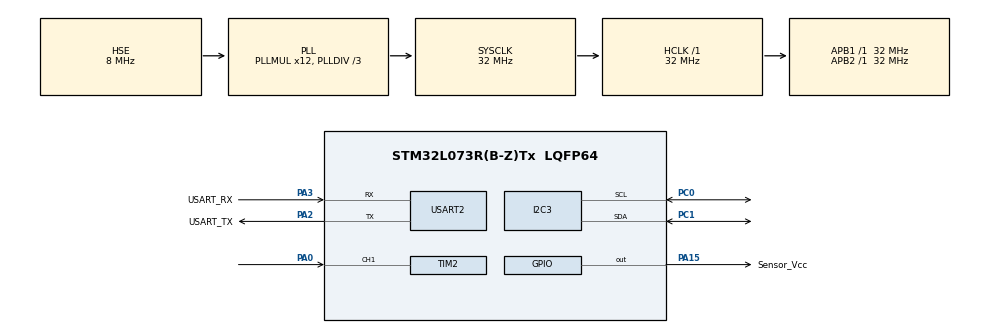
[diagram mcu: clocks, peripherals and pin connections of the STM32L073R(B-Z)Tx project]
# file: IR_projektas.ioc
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I2C3.Timing=0x00B07CB4
Mcu.Family=STM32L0
Mcu.Name=STM32L073R(B-Z)Tx
Mcu.Package=LQFP64
NVIC.TIM2_IRQn=true\:0\:0\:false\:false\:true\:true\:true\:true
PA0.Signal=S_TIM2_CH1
PA13.Mode=Serial_Wire
PA13.Signal=SYS_SWDIO
PA14.Mode=Serial_Wire
PA14.Signal=SYS_SWCLK
PA15.GPIO_Label=Sensor_Vcc
PA15.Signal=GPIO_Output
PA2.GPIO_Label=USART_TX
PA2.Mode=Asynchronous
PA2.Signal=USART2_TX
PA3.GPIO_Label=USART_RX
PA3.Mode=Asynchronous
PA3.Signal=USART2_RX
PC0.Mode=I2C
PC0.Signal=I2C3_SCL
PC1.Mode=I2C
PC1.Signal=I2C3_SDA
PH0-OSC_IN.Mode=HSE-External-Oscillator
PH0-OSC_IN.Signal=RCC_OSC_IN
PH1-OSC_OUT.Mode=HSE-External-Oscillator
PH1-OSC_OUT.Signal=RCC_OSC_OUT
ProjectManager.HeapSize=0x200
ProjectManager.StackSize=0x400
ProjectManager.TargetToolchain=MDK-ARM V5.32
RCC.AHBFreq_Value=32000000
RCC.APB1Freq_Value=32000000
RCC.APB1TimFreq_Value=32000000
RCC.APB2Freq_Value=32000000
RCC.APB2TimFreq_Value=32000000
RCC.HCLKFreq_Value=32000000
RCC.HSE_VALUE=8000000
RCC.HSI16_VALUE=16000000
RCC.HSI48_VALUE=48000000
RCC.HSI_VALUE=16000000
RCC.MSI_VALUE=2097000
RCC.PLLDIV=RCC_PLLDIV_3
RCC.PLLMUL=RCC_PLLMUL_12
RCC.PLLSourceVirtual=RCC_PLLSOURCE_HSE
RCC.SYSCLKFreq_VALUE=32000000
RCC.SYSCLKSource=RCC_SYSCLKSOURCE_PLLCLK
RCC.VCOOutputFreq_Value=96000000
SH.S_TIM2_CH1.0=TIM2_CH1,Input_Capture1_from_TI1
TIM2.Channel-Input_Capture1_from_TI1=TIM_CHANNEL_1
USART2.VirtualMode-Asynchronous=VM_ASYNC
VP_TIM2_VS_ClockSourceINT.Mode=Internal
board=NUCLEO-L073RZ

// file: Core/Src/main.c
/* USER CODE BEGIN Header */
/**
  ******************************************************************************
  * @file           : main.c
  * @brief          : Main program body
  ******************************************************************************
  * @attention
  *
  * Copyright (c) 2025 STMicroelectronics.
  * All rights reserved.
  *
  * This software is licensed under terms that can be found in the LICENSE file
  * in the root directory of this software component.
  * If no LICENSE file comes with this software, it is provided AS-IS.
  *
  ******************************************************************************
  */
/* USER CODE END Header */
#include "main.h"

/* USER CODE BEGIN Includes */
#include "ssd1306.h"
#include "fonts.h"
#include <stdio.h>
#include "counter.h"
#include <string.h>
/* USER CODE END Includes */

I2C_HandleTypeDef hi2c3;

TIM_HandleTypeDef htim2;

UART_HandleTypeDef huart2;

/* USER CODE BEGIN PV */
int counter_display, counter_uart;
char rpm_display[30];
char TxBuffer[50];

#define IDLE   0
#define DONE   1

uint8_t state = IDLE;
float T1=0, T2=0, Periodas=0, RPM=0;
uint32_t skirtumas = 0;
uint16_t TIM2_Overflow = 0;

/* USER CODE END PV */

void SystemClock_Config(void);
static void MX_GPIO_Init(void);
static void MX_I2C3_Init(void);
static void MX_TIM2_Init(void);
static void MX_USART2_UART_Init(void);
/* USER CODE BEGIN PFP */
void Display();
/* USER CODE END PFP */

int main(void)
{

  /* MCU Configuration--------------------------------------------------------*/

  /* Reset of all peripherals, Initializes the Flash interface and the Systick. */
  HAL_Init();

  /* Configure the system clock */
  SystemClock_Config();

  /* Initialize all configured peripherals */
  MX_GPIO_Init();
  MX_I2C3_Init();
  MX_TIM2_Init();
  MX_USART2_UART_Init();
  /* USER CODE BEGIN 2 */

  HAL_TIM_IC_Start_IT(&htim2, TIM_CHANNEL_1);
	HAL_TIM_Base_Start_IT(&htim2);

  ssd1306_Init(&hi2c3);

	HAL_GPIO_WritePin(Sensor_Vcc_GPIO_Port, Sensor_Vcc_Pin, GPIO_PIN_SET);

	ssd1306_SetCursor(20, 0);
  ssd1306_WriteString("RPM", Font_11x18, White);
  ssd1306_SetCursor(20, 30);
  ssd1306_WriteString("matavimas", Font_11x18, White);
  ssd1306_UpdateScreen(&hi2c3);
  HAL_Delay(1000);
	ssd1306_Fill(Black); //Clear the display
  /* USER CODE END 2 */

  /* Infinite loop */
  /* USER CODE BEGIN WHILE */
  while (1)
  {
		//UART siuntimo counter (0.2sek.)
		if (counter_uart>=200){
			if (RPM > 60.0f) {
            sprintf(TxBuffer, "Nepaisomas diapazonas! RPM = %.1f aps./min\r\n", RPM);
        } else {
            sprintf(TxBuffer, "%0.1f aps./min\r\n", RPM);
        }
			if (HAL_UART_Transmit(&huart2, (uint8_t*)TxBuffer, strlen(TxBuffer), HAL_MAX_DELAY) != HAL_OK)
					HAL_UART_GetError(&huart2); //Esant problemai su UART nurodoma klaida
			counter_uart = 0;
		}
		if (counter_display>=500){ //Duomenys vaizduojami OLED kas 0,5 sek.
				Display();
				counter_display = 0;
		}
    /* USER CODE END WHILE */

  }
}

void SystemClock_Config(void)
{
  RCC_OscInitTypeDef RCC_OscInitStruct = {0};
  RCC_ClkInitTypeDef RCC_ClkInitStruct = {0};
  RCC_PeriphCLKInitTypeDef PeriphClkInit = {0};

  /** Configure the main internal regulator output voltage
  */
  __HAL_PWR_VOLTAGESCALING_CONFIG(PWR_REGULATOR_VOLTAGE_SCALE1);

  /** Initializes the RCC Oscillators according to the specified parameters
  * in the RCC_OscInitTypeDef structure.
  */
  RCC_OscInitStruct.OscillatorType = RCC_OSCILLATORTYPE_HSE;
  RCC_OscInitStruct.HSEState = RCC_HSE_ON;
  RCC_OscInitStruct.PLL.PLLState = RCC_PLL_ON;
  RCC_OscInitStruct.PLL.PLLSource = RCC_PLLSOURCE_HSE;
  RCC_OscInitStruct.PLL.PLLMUL = RCC_PLLMUL_12;
  RCC_OscInitStruct.PLL.PLLDIV = RCC_PLLDIV_3;
  if (HAL_RCC_OscConfig(&RCC_OscInitStruct) != HAL_OK)
  {
    Error_Handler();
  }

  /** Initializes the CPU, AHB and APB buses clocks
  */
  RCC_ClkInitStruct.ClockType = RCC_CLOCKTYPE_HCLK|RCC_CLOCKTYPE_SYSCLK
                              |RCC_CLOCKTYPE_PCLK1|RCC_CLOCKTYPE_PCLK2;
  RCC_ClkInitStruct.SYSCLKSource = RCC_SYSCLKSOURCE_PLLCLK;
  RCC_ClkInitStruct.AHBCLKDivider = RCC_SYSCLK_DIV1;
  RCC_ClkInitStruct.APB1CLKDivider = RCC_HCLK_DIV1;
  RCC_ClkInitStruct.APB2CLKDivider = RCC_HCLK_DIV1;

  if (HAL_RCC_ClockConfig(&RCC_ClkInitStruct, FLASH_LATENCY_1) != HAL_OK)
  {
    Error_Handler();
  }
  PeriphClkInit.PeriphClockSelection = RCC_PERIPHCLK_USART2|RCC_PERIPHCLK_I2C3;
  PeriphClkInit.Usart2ClockSelection = RCC_USART2CLKSOURCE_PCLK1;
  PeriphClkInit.I2c3ClockSelection = RCC_I2C3CLKSOURCE_PCLK1;
  if (HAL_RCCEx_PeriphCLKConfig(&PeriphClkInit) != HAL_OK)
  {
    Error_Handler();
  }
}

static void MX_I2C3_Init(void)
{

  hi2c3.Instance = I2C3;
  hi2c3.Init.Timing = 0x00B07CB4;
  hi2c3.Init.OwnAddress1 = 0;
  hi2c3.Init.AddressingMode = I2C_ADDRESSINGMODE_7BIT;
  hi2c3.Init.DualAddressMode = I2C_DUALADDRESS_DISABLE;
  hi2c3.Init.OwnAddress2 = 0;
  hi2c3.Init.OwnAddress2Masks = I2C_OA2_NOMASK;
  hi2c3.Init.GeneralCallMode = I2C_GENERALCALL_DISABLE;
  hi2c3.Init.NoStretchMode = I2C_NOSTRETCH_DISABLE;
  if (HAL_I2C_Init(&hi2c3) != HAL_OK)
  {
    Error_Handler();
  }

  /** Configure Analogue filter
  */
  if (HAL_I2CEx_ConfigAnalogFilter(&hi2c3, I2C_ANALOGFILTER_ENABLE) != HAL_OK)
  {
    Error_Handler();
  }

  /** Configure Digital filter
  */
  if (HAL_I2CEx_ConfigDigitalFilter(&hi2c3, 0) != HAL_OK)
  {
    Error_Handler();
  }

}

static void MX_TIM2_Init(void)
{

  TIM_ClockConfigTypeDef sClockSourceConfig = {0};
  TIM_MasterConfigTypeDef sMasterConfig = {0};
  TIM_IC_InitTypeDef sConfigIC = {0};

  htim2.Instance = TIM2;
  htim2.Init.Prescaler = 0;
  htim2.Init.CounterMode = TIM_COUNTERMODE_UP;
  htim2.Init.Period = 65535;
  htim2.Init.ClockDivision = TIM_CLOCKDIVISION_DIV1;
  htim2.Init.AutoReloadPreload = TIM_AUTORELOAD_PRELOAD_DISABLE;
  if (HAL_TIM_Base_Init(&htim2) != HAL_OK)
  {
    Error_Handler();
  }
  sClockSourceConfig.ClockSource = TIM_CLOCKSOURCE_INTERNAL;
  if (HAL_TIM_ConfigClockSource(&htim2, &sClockSourceConfig) != HAL_OK)
  {
    Error_Handler();
  }
  if (HAL_TIM_IC_Init(&htim2) != HAL_OK)
  {
    Error_Handler();
  }
  sMasterConfig.MasterOutputTrigger = TIM_TRGO_RESET;
  sMasterConfig.MasterSlaveMode = TIM_MASTERSLAVEMODE_DISABLE;
  if (HAL_TIMEx_MasterConfigSynchronization(&htim2, &sMasterConfig) != HAL_OK)
  {
    Error_Handler();
  }
  sConfigIC.ICPolarity = TIM_INPUTCHANNELPOLARITY_RISING;
  sConfigIC.ICSelection = TIM_ICSELECTION_DIRECTTI;
  sConfigIC.ICPrescaler = TIM_ICPSC_DIV1;
  sConfigIC.ICFilter = 0;
  if (HAL_TIM_IC_ConfigChannel(&htim2, &sConfigIC, TIM_CHANNEL_1) != HAL_OK)
  {
    Error_Handler();
  }

}

static void MX_USART2_UART_Init(void)
{

  huart2.Instance = USART2;
  huart2.Init.BaudRate = 115200;
  huart2.Init.WordLength = UART_WORDLENGTH_8B;
  huart2.Init.StopBits = UART_STOPBITS_1;
  huart2.Init.Parity = UART_PARITY_NONE;
  huart2.Init.Mode = UART_MODE_TX_RX;
  huart2.Init.HwFlowCtl = UART_HWCONTROL_NONE;
  huart2.Init.OverSampling = UART_OVERSAMPLING_16;
  huart2.Init.OneBitSampling = UART_ONE_BIT_SAMPLE_DISABLE;
  huart2.AdvancedInit.AdvFeatureInit = UART_ADVFEATURE_NO_INIT;
  if (HAL_UART_Init(&huart2) != HAL_OK)
  {
    Error_Handler();
  }

}

static void MX_GPIO_Init(void)
{
  GPIO_InitTypeDef GPIO_InitStruct = {0};

  /* GPIO Ports Clock Enable */
  __HAL_RCC_GPIOH_CLK_ENABLE();
  __HAL_RCC_GPIOC_CLK_ENABLE();
  __HAL_RCC_GPIOA_CLK_ENABLE();

  /*Configure GPIO pin Output Level */
  HAL_GPIO_WritePin(Sensor_Vcc_GPIO_Port, Sensor_Vcc_Pin, GPIO_PIN_RESET);

  /*Configure GPIO pin : Sensor_Vcc_Pin */
  GPIO_InitStruct.Pin = Sensor_Vcc_Pin;
  GPIO_InitStruct.Mode = GPIO_MODE_OUTPUT_PP;
  GPIO_InitStruct.Pull = GPIO_NOPULL;
  GPIO_InitStruct.Speed = GPIO_SPEED_FREQ_LOW;
  HAL_GPIO_Init(Sensor_Vcc_GPIO_Port, &GPIO_InitStruct);

}

/* USER CODE BEGIN 4 */

void HAL_TIM_IC_CaptureCallback(TIM_HandleTypeDef* htim)
{
    if(state == IDLE) // Pirmo fronto aptikimas
    {
        T1 = TIM2->CNT; // Nuskaitoma ir priskiriama counter reiksme
        TIM2_Overflow = 0; // Nunulinamas persipildymas
        state = DONE;
    }
    else if(state == DONE) // Antro fronto aptikimas
    {
        T2 = TIM2->CNT;
        skirtumas = (T2 + (TIM2_Overflow * 65535)) - T1; // Dvieju frontu skirtumas, ivertinamas persipildymas

		Periodas = skirtumas*31.25e-9; // Timer ticku reiksmiu skirtumas paverciamos i sekundes
		RPM = (60/Periodas)/4; // Apsisukimai per minute
        state = IDLE;
    }
}

void HAL_TIM_PeriodElapsedCallback(TIM_HandleTypeDef* htim)
{
		TIM2_Overflow++; //Fiksuojamas TIM2 persipildymas (auto-reload)
}

void Display()
{
		ssd1306_Fill(Black);
		if (RPM > 60.0f)
    {
			ssd1306_SetCursor(0, 1);
			ssd1306_WriteString("Aps./min", Font_11x18, White);
      ssd1306_SetCursor(0, 22);
      ssd1306_WriteString("RPM > 60", Font_11x18, White);
    }
    else
    {
		sprintf(rpm_display, "RPM:%0.1f", RPM);

		ssd1306_SetCursor(0, 1);
		ssd1306_WriteString("Aps./min", Font_11x18, White);
		ssd1306_SetCursor(0, 22);
		ssd1306_WriteString(rpm_display, Font_11x18, White);
		}
		ssd1306_UpdateScreen(&hi2c3);
		HAL_Delay(10);
}

/* USER CODE END 4 */

void Error_Handler(void)
{
  __disable_irq();
  while (1)
  {
  }
}
